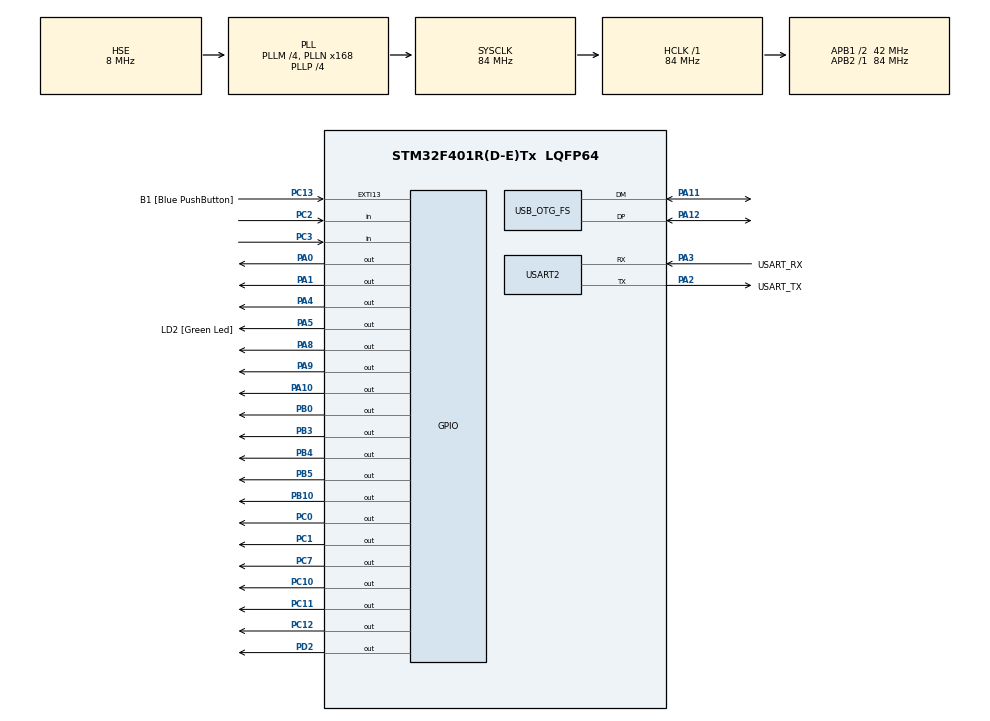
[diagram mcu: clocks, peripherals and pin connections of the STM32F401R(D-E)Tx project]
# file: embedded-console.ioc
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Mcu.Family=STM32F4
Mcu.Name=STM32F401R(D-E)Tx
Mcu.Package=LQFP64
NVIC.PriorityGroup=NVIC_PRIORITYGROUP_4
NVIC.TIM1_UP_TIM10_IRQn=true\:15\:0\:false\:false\:true\:false\:true\:true
NVIC.TimeBase=TIM1_UP_TIM10_IRQn
NVIC.TimeBaseIP=TIM1
PA0-WKUP.Signal=GPIO_Output
PA1.Signal=GPIO_Output
PA10.Signal=GPIO_Output
PA11.Mode=Device_Only
PA11.Signal=USB_OTG_FS_DM
PA12.Mode=Device_Only
PA12.Signal=USB_OTG_FS_DP
PA13.GPIO_Label=TMS
PA13.Mode=Serial_Wire
PA13.Signal=SYS_JTMS-SWDIO
PA14.GPIO_Label=TCK
PA14.Mode=Serial_Wire
PA14.Signal=SYS_JTCK-SWCLK
PA2.GPIO_Label=USART_TX
PA2.GPIO_Mode=GPIO_MODE_AF_PP
PA2.GPIO_PuPd=GPIO_NOPULL
PA2.GPIO_Speed=GPIO_SPEED_FREQ_LOW
PA2.Mode=Asynchronous
PA2.Signal=USART2_TX
PA3.GPIO_Label=USART_RX
PA3.GPIO_Mode=GPIO_MODE_AF_PP
PA3.GPIO_PuPd=GPIO_NOPULL
PA3.GPIO_Speed=GPIO_SPEED_FREQ_LOW
PA3.Mode=Asynchronous
PA3.Signal=USART2_RX
PA4.Signal=GPIO_Output
PA5.GPIO_Label=LD2 [Green Led]
PA5.GPIO_Mode=GPIO_MODE_OUTPUT_PP
PA5.GPIO_PuPd=GPIO_NOPULL
PA5.GPIO_Speed=GPIO_SPEED_FREQ_LOW
PA5.Signal=GPIO_Output
PA8.Signal=GPIO_Output
PA9.Signal=GPIO_Output
PB0.Signal=GPIO_Output
PB10.Signal=GPIO_Output
PB3.Signal=GPIO_Output
PB4.Signal=GPIO_Output
PB5.Signal=GPIO_Output
PC0.Signal=GPIO_Output
PC1.Signal=GPIO_Output
PC10.Signal=GPIO_Output
PC11.Signal=GPIO_Output
PC12.Signal=GPIO_Output
PC13-ANTI_TAMP.GPIO_Label=B1 [Blue PushButton]
PC13-ANTI_TAMP.GPIO_ModeDefaultEXTI=GPIO_MODE_IT_FALLING
PC13-ANTI_TAMP.GPIO_PuPd=GPIO_NOPULL
PC13-ANTI_TAMP.Signal=GPXTI13
PC14-OSC32_IN.Mode=LSE-External-Oscillator
PC14-OSC32_IN.Signal=RCC_OSC32_IN
PC15-OSC32_OUT.Mode=LSE-External-Oscillator
PC15-OSC32_OUT.Signal=RCC_OSC32_OUT
PC2.Signal=GPIO_Input
PC3.Signal=GPIO_Input
PC7.Signal=GPIO_Output
PD2.Signal=GPIO_Output
PH0\ -\ OSC_IN.Mode=HSE-External-Oscillator
PH0\ -\ OSC_IN.Signal=RCC_OSC_IN
PH1\ -\ OSC_OUT.Mode=HSE-External-Oscillator
PH1\ -\ OSC_OUT.Signal=RCC_OSC_OUT
ProjectManager.HeapSize=0x200
ProjectManager.StackSize=0x400
ProjectManager.TargetToolchain=Makefile
RCC.48MHZClocksFreq_Value=48000000
RCC.AHBFreq_Value=84000000
RCC.APB1CLKDivider=RCC_HCLK_DIV2
RCC.APB1Freq_Value=42000000
RCC.APB1TimFreq_Value=84000000
RCC.APB2Freq_Value=84000000
RCC.APB2TimFreq_Value=84000000
RCC.CortexFreq_Value=84000000
RCC.HCLKFreq_Value=84000000
RCC.HSE_VALUE=8000000
RCC.HSI_VALUE=16000000
RCC.PLLM=4
RCC.PLLN=168
RCC.PLLP=RCC_PLLP_DIV4
RCC.PLLQ=7
RCC.SYSCLKFreq_VALUE=84000000
RCC.SYSCLKSource=RCC_SYSCLKSOURCE_PLLCLK
RCC.VCOOutputFreq_Value=336000000
USART2.VirtualMode=VM_ASYNC
USB_OTG_FS.VirtualMode=Device_Only
VP_SYS_VS_tim1.Mode=TIM1
board=NUCLEO-F401RE

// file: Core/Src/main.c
/* USER CODE BEGIN Header */
/**
  ******************************************************************************
  * @file           : main.c
  * @brief          : Main program body
  ******************************************************************************
  * @attention
  *
  * Copyright (c) 2022 STMicroelectronics.
  * All rights reserved.
  *
  * This software is licensed under terms that can be found in the LICENSE file
  * in the root directory of this software component.
  * If no LICENSE file comes with this software, it is provided AS-IS.
  *
  ******************************************************************************
  */
/* USER CODE END Header */
#include "main.h"

/* USER CODE BEGIN Includes */
#include "ili9341.h"
#include "nrf24.h"
#include "usb-cdc-device.h"
/* USER CODE END Includes */

UART_HandleTypeDef huart2;

PCD_HandleTypeDef hpcd_USB_OTG_FS;

/* USER CODE BEGIN PV */
uint8_t cdc_buffer[64];
extern char lcd_string[128];
/* USER CODE END PV */

void SystemClock_Config(void);
static void MX_GPIO_Init(void);
static void MX_USART2_UART_Init(void);

int main(void)
{

  /* MCU Configuration--------------------------------------------------------*/

  /* Reset of all peripherals, Initializes the Flash interface and the Systick. */
  HAL_Init();

  /* Configure the system clock */
  SystemClock_Config();

  /* Initialize all configured peripherals */
  MX_GPIO_Init();
  MX_USART2_UART_Init();

  /* USER CODE BEGIN 2 */
  usb_device_init();

  ili9341_init();

  uint8_t id4[4];
  ili9341_get_id4(id4);
  uint8_t id2[2];
  ili9341_get_id3(id2);
  lcd_set_rotation(0);
  ili9341_set_CTRL_display();
  ili9341_set_display_brightness();
  uint8_t brightness[2];
  ili9341_get_display_brightness(brightness);
  uint8_t display_format[2];
  ili9341_get_display_pixel_format(display_format);

  ili9341_set_CTRL_display();
  uint8_t ctrl_display[2];
  ili9341_get_CTRL_display(ctrl_display);

  ili9341_set_tearing_effect_line_on();
  uint8_t display_signal_mode[2];
  ili9341_get_display_signal_mode(display_signal_mode);

  // nRF24_tx_self_test();

  lcd_clear_all(WHITE);
  /*
	char message[64] = "> Hello. My Name is Luyao Han. Great to meet you!";
	lcd_write_message(message, 0, 10, 1, BLUE, WHITE);
	strcpy(message, "> What's your name?");
	lcd_write_message(message, 0, 20, 1, BLUE, WHITE);
	strcpy(message, "Some say the world will end in fire,");
	lcd_write_message(message, 0, 30, 1, BLUE, WHITE);
  strcpy(message, "Some say in ice.");
	lcd_write_message(message, 0, 40, 1, BLUE, WHITE);
  strcpy(message, "From what Ive tasted of desire");
	lcd_write_message(message, 0, 50, 1, BLUE, WHITE);
  strcpy(message, "I hold with those who favour fire.");
	lcd_write_message(message, 0, 60, 1, BLUE, WHITE);
  strcpy(message, "But if it had to perish twice,");
	lcd_write_message(message, 0, 70, 1, BLUE, WHITE);
  strcpy(message, "I think I know enough of hate");
	lcd_write_message(message, 0, 80, 1, BLUE, WHITE);
  strcpy(message, "To say that for destruction ice");
	lcd_write_message(message, 0, 90, 1, BLUE, WHITE);
  strcpy(message, "Is also great");
	lcd_write_message(message, 0, 100, 1, BLUE, WHITE);
  strcpy(message, "And would suffice.");
	lcd_write_message(message, 0, 110, 1, BLUE, WHITE);
  */

  uint8_t buffer[] = "Hello, World!\r\n";
  /* USER CODE END 2 */

  /* Infinite loop */
  /* USER CODE BEGIN WHILE */

  // lcd_enter_vertical_scroll_mode();
  while (1)
  {
    // CDC_Transmit_FS(buffer, sizeof(buffer));

    usbd_transmit(buffer, sizeof(buffer));
    // lcd_continuous_scroll();
    HAL_Delay(1000);
	  lcd_write_message(lcd_string, 0, 0, 1, BLUE, WHITE);
    /* USER CODE END WHILE */
  }
}

void SystemClock_Config(void)
{
  RCC_OscInitTypeDef RCC_OscInitStruct = {0};
  RCC_ClkInitTypeDef RCC_ClkInitStruct = {0};

  /** Configure the main internal regulator output voltage
  */
  __HAL_RCC_PWR_CLK_ENABLE();
  __HAL_PWR_VOLTAGESCALING_CONFIG(PWR_REGULATOR_VOLTAGE_SCALE2);

  /** Initializes the RCC Oscillators according to the specified parameters
  * in the RCC_OscInitTypeDef structure.
  */
  RCC_OscInitStruct.OscillatorType = RCC_OSCILLATORTYPE_HSE;
  RCC_OscInitStruct.HSEState = RCC_HSE_ON;
  RCC_OscInitStruct.PLL.PLLState = RCC_PLL_ON;
  RCC_OscInitStruct.PLL.PLLSource = RCC_PLLSOURCE_HSE;
  RCC_OscInitStruct.PLL.PLLM = 4;
  RCC_OscInitStruct.PLL.PLLN = 168;
  RCC_OscInitStruct.PLL.PLLP = RCC_PLLP_DIV4;
  RCC_OscInitStruct.PLL.PLLQ = 7;
  if (HAL_RCC_OscConfig(&RCC_OscInitStruct) != HAL_OK)
  {
    Error_Handler();
  }

  /** Initializes the CPU, AHB and APB buses clocks
  */
  RCC_ClkInitStruct.ClockType = RCC_CLOCKTYPE_HCLK|RCC_CLOCKTYPE_SYSCLK
                              |RCC_CLOCKTYPE_PCLK1|RCC_CLOCKTYPE_PCLK2;
  RCC_ClkInitStruct.SYSCLKSource = RCC_SYSCLKSOURCE_PLLCLK;
  RCC_ClkInitStruct.AHBCLKDivider = RCC_SYSCLK_DIV1;
  RCC_ClkInitStruct.APB1CLKDivider = RCC_HCLK_DIV2;
  RCC_ClkInitStruct.APB2CLKDivider = RCC_HCLK_DIV1;

  if (HAL_RCC_ClockConfig(&RCC_ClkInitStruct, FLASH_LATENCY_2) != HAL_OK)
  {
    Error_Handler();
  }
}

static void MX_USART2_UART_Init(void)
{

  huart2.Instance = USART2;
  huart2.Init.BaudRate = 115200;
  huart2.Init.WordLength = UART_WORDLENGTH_8B;
  huart2.Init.StopBits = UART_STOPBITS_1;
  huart2.Init.Parity = UART_PARITY_NONE;
  huart2.Init.Mode = UART_MODE_TX_RX;
  huart2.Init.HwFlowCtl = UART_HWCONTROL_NONE;
  huart2.Init.OverSampling = UART_OVERSAMPLING_16;
  if (HAL_UART_Init(&huart2) != HAL_OK)
  {
    Error_Handler();
  }

}

static void MX_GPIO_Init(void)
{
  GPIO_InitTypeDef GPIO_InitStruct = {0};

  /* GPIO Ports Clock Enable */
  __HAL_RCC_GPIOC_CLK_ENABLE();
  __HAL_RCC_GPIOH_CLK_ENABLE();
  __HAL_RCC_GPIOA_CLK_ENABLE();
  __HAL_RCC_GPIOB_CLK_ENABLE();
  __HAL_RCC_GPIOD_CLK_ENABLE();

  /*Configure GPIO pin Output Level */
  HAL_GPIO_WritePin(GPIOC, GPIO_PIN_0|GPIO_PIN_1|GPIO_PIN_7|GPIO_PIN_10
                          |GPIO_PIN_11|GPIO_PIN_12, GPIO_PIN_RESET);

  /*Configure GPIO pin Output Level */
  HAL_GPIO_WritePin(GPIOA, GPIO_PIN_0|GPIO_PIN_1|GPIO_PIN_4|LD2_Pin
                          |GPIO_PIN_8|GPIO_PIN_9|GPIO_PIN_10, GPIO_PIN_RESET);

  /*Configure GPIO pin Output Level */
  HAL_GPIO_WritePin(GPIOB, GPIO_PIN_0|GPIO_PIN_10|GPIO_PIN_3|GPIO_PIN_4
                          |GPIO_PIN_5, GPIO_PIN_RESET);

  /*Configure GPIO pin Output Level */
  HAL_GPIO_WritePin(GPIOD, GPIO_PIN_2, GPIO_PIN_RESET);

  /*Configure GPIO pin : B1_Pin */
  GPIO_InitStruct.Pin = B1_Pin;
  GPIO_InitStruct.Mode = GPIO_MODE_IT_FALLING;
  GPIO_InitStruct.Pull = GPIO_NOPULL;
  HAL_GPIO_Init(B1_GPIO_Port, &GPIO_InitStruct);

  /*Configure GPIO pins : PC0 PC1 PC7 PC10
                           PC11 PC12 */
  GPIO_InitStruct.Pin = GPIO_PIN_0|GPIO_PIN_1|GPIO_PIN_7|GPIO_PIN_10
                          |GPIO_PIN_11|GPIO_PIN_12;
  GPIO_InitStruct.Mode = GPIO_MODE_OUTPUT_PP;
  GPIO_InitStruct.Pull = GPIO_NOPULL;
  GPIO_InitStruct.Speed = GPIO_SPEED_FREQ_LOW;
  HAL_GPIO_Init(GPIOC, &GPIO_InitStruct);

  /*Configure GPIO pins : PC2 PC3 */
  GPIO_InitStruct.Pin = GPIO_PIN_2|GPIO_PIN_3;
  GPIO_InitStruct.Mode = GPIO_MODE_INPUT;
  GPIO_InitStruct.Pull = GPIO_NOPULL;
  HAL_GPIO_Init(GPIOC, &GPIO_InitStruct);

  /*Configure GPIO pins : PA0 PA1 PA4 LD2_Pin
                           PA8 PA9 PA10 */
  GPIO_InitStruct.Pin = GPIO_PIN_0|GPIO_PIN_1|GPIO_PIN_4|LD2_Pin
                          |GPIO_PIN_8|GPIO_PIN_9|GPIO_PIN_10;
  GPIO_InitStruct.Mode = GPIO_MODE_OUTPUT_PP;
  GPIO_InitStruct.Pull = GPIO_NOPULL;
  GPIO_InitStruct.Speed = GPIO_SPEED_FREQ_LOW;
  HAL_GPIO_Init(GPIOA, &GPIO_InitStruct);

  /*Configure GPIO pins : PB0 PB10 PB3 PB4
                           PB5 */
  GPIO_InitStruct.Pin = GPIO_PIN_0|GPIO_PIN_10|GPIO_PIN_3|GPIO_PIN_4
                          |GPIO_PIN_5;
  GPIO_InitStruct.Mode = GPIO_MODE_OUTPUT_PP;
  GPIO_InitStruct.Pull = GPIO_NOPULL;
  GPIO_InitStruct.Speed = GPIO_SPEED_FREQ_LOW;
  HAL_GPIO_Init(GPIOB, &GPIO_InitStruct);

  /*Configure GPIO pin : PD2 */
  GPIO_InitStruct.Pin = GPIO_PIN_2;
  GPIO_InitStruct.Mode = GPIO_MODE_OUTPUT_PP;
  GPIO_InitStruct.Pull = GPIO_NOPULL;
  GPIO_InitStruct.Speed = GPIO_SPEED_FREQ_LOW;
  HAL_GPIO_Init(GPIOD, &GPIO_InitStruct);

}

void HAL_TIM_PeriodElapsedCallback(TIM_HandleTypeDef *htim)
{
  if (htim->Instance == TIM1) {
    HAL_IncTick();
  }
}

void Error_Handler(void)
{
  __disable_irq();
  while (1)
  {
  }
}
